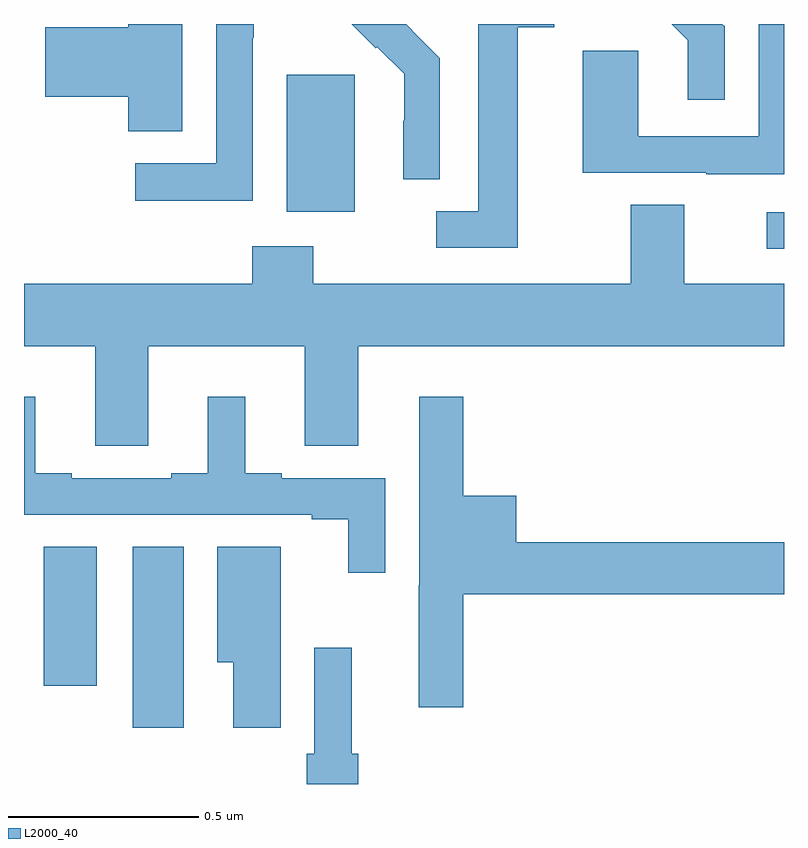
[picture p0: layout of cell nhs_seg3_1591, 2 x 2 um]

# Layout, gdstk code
import gdstk
lib = gdstk.Library(unit=1e-6, precision=1e-09)
def R(c, l, rs):  # rectangles x0, y0, x1, y1
    for r in rs: c.add(gdstk.rectangle(r[:2], r[2:], *l))
def P(c, l, *ps):  # polygons
    for p in ps: c.add(gdstk.Polygon(p, *l))
L2000_40 = (2000, 40)

nhs_seg3_1591 = lib.new_cell('nhs_seg3_1591')
R(nhs_seg3_1591, L2000_40, [(130.286,730.548,130.42,731.024), (130.052,730.659,130.192,731.024), (131.955,731.808,132,731.904), (130.691,731.906,130.87,732.267)])
P(nhs_seg3_1591, L2000_40, [(131.844,732.394),(131.838,732.4),(131.704,732.4),(131.747,732.357),(131.747,732.201),(131.844,732.201)],
  [(131.299,732.392),(131.395,732.392),(131.395,732.4),(131.195,732.4),(131.195,731.907),(131.085,731.907),(131.085,731.811),(131.299,731.811)],
  [(130.602,732.364),(130.605,732.364),(130.605,732.4),(130.506,732.4),(130.506,732.033),(130.293,732.033),(130.293,731.935),(130.602,731.935)],
  [(131.094,732.31),(131.021,732.383),(131.022,732.384),(131.006,732.4),(130.862,732.4),(130.926,732.336),(130.929,732.339),(131,732.269),(131,732.146),(130.998,732.146),(130.998,731.992),(131.094,731.992)],
  [(130.417,732.4),(130.274,732.4),(130.274,732.392),(130.056,732.392),(130.056,732.209),(130.274,732.209),(130.274,732.118),(130.417,732.118)],
  [(132,732.4),(131.934,732.4),(131.934,732.105),(131.616,732.105),(131.616,732.329),(131.471,732.329),(131.471,732.009),(131.795,732.009),(131.795,732.005),(132,732.005)],
  [(130.327,731.552),(130.739,731.552),(130.739,731.29),(130.879,731.29),(130.879,731.552),(132,731.552),(132,731.716),(131.737,731.716),(131.737,731.924),(131.597,731.924),(131.597,731.716),(130.761,731.716),(130.761,731.815),(130.601,731.815),(130.601,731.716),(130,731.716),(130,731.552),(130.187,731.552),(130.187,731.29),(130.327,731.29)],
  [(130.95,731.205),(130.678,731.205),(130.678,731.218),(130.582,731.218),(130.582,731.419),(130.484,731.419),(130.484,731.218),(130.388,731.218),(130.388,731.205),(130.126,731.205),(130.126,731.218),(130.03,731.218),(130.03,731.419),(130,731.419),(130,731.109),(130.757,731.109),(130.757,731.097),(130.853,731.097),(130.853,730.956),(130.95,730.956)],
  [(131.156,730.9),(132,730.9),(132,731.036),(131.296,731.036),(131.296,731.158),(131.156,731.158),(131.156,731.419),(131.04,731.419),(131.04,730.923),(131.039,730.923),(131.039,730.602),(131.156,730.602)],
  [(130.675,731.024),(130.508,731.024),(130.508,730.721),(130.55,730.721),(130.55,730.548),(130.675,730.548)],
  [(130.88,730.48),(130.862,730.48),(130.862,730.759),(130.764,730.759),(130.764,730.48),(130.744,730.48),(130.744,730.4),(130.88,730.4)])

lib.write_gds('nhs_seg3_1591.gds')
